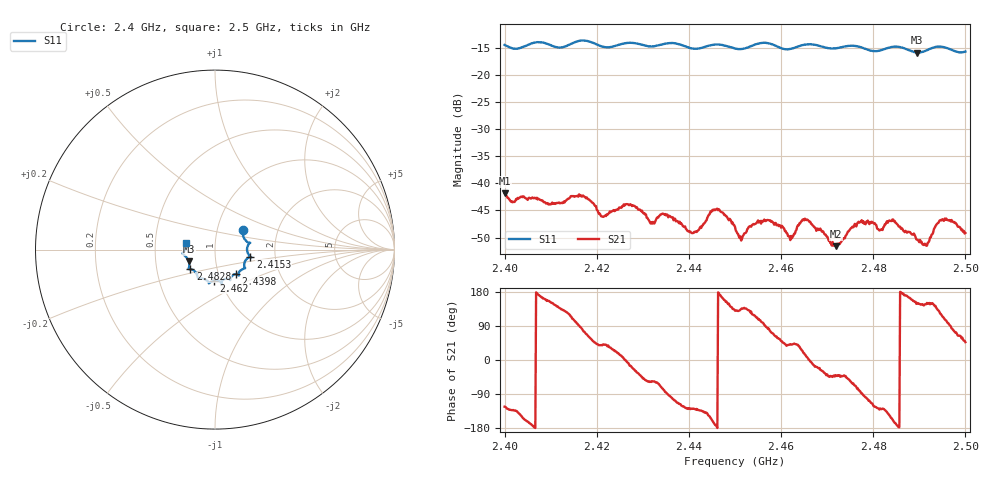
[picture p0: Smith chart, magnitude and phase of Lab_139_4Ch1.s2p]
# Hz S RI R 50
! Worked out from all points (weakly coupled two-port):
!   601 points, 2.4 GHz to 2.5 GHz, reference 50 ohm
!   highest |S21| = -41.85 dB at 2.4 GHz (marker M1); lowest = -51.6 dB at 2.4718 GHz (marker M2)
!   lowest |S11| = -15.9 dB at 2.4895 GHz (marker M3), VSWR 1.38, Z = 37 - j5 ohm
!   |S11| at or under -10 dB: start of sweep to end of sweep
!   S12 and S22 are empty: the file has one direction only
!   S11 on the Smith chart (normalised r, x): 2.4 GHz: 1.33, +0.29; 2.4153 GHz: 1.48, -0.12; 2.4398 GHz: 1.21, -0.34; 2.462 GHz: 0.93, -0.33; 2.4828 GHz: 0.74, -0.17; 2.5 GHz: 0.72, +0.06
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2.4e9  0.1553 0.1069  -0.00441 -0.00677  0 0  0 0
2.415333e9  0.1966 -0.0389  -0.0015 0.00744  0 0  0 0
2.416667e9  0.2025 -0.0429  0.000788 0.00752  0 0  0 0
2.421333e9  0.1725 -0.0566  0.00371 0.00321  0 0  0 0
2.426833e9  0.1683 -0.1027  0.00633 -0.000862  0 0  0 0
2.433333e9  0.1308 -0.1338  0.00227 -0.00426  0 0  0 0
2.439833e9  0.1154 -0.1362  -0.00228 -0.0028  0 0  0 0
2.446e9  0.0847 -0.1704  -0.00578 -0.00052  0 0  0 0
2.45e9  0.0655 -0.1624  -0.00256 0.00303  0 0  0 0
2.451333e9  0.0505 -0.1652  -0.00207 0.00212  0 0  0 0
2.457333e9  0.0393 -0.1914  0.000557 0.00452  0 0  0 0
2.462e9  -0.00499 -0.1729  0.00223 0.00199  0 0  0 0
2.464833e9  -0.0318 -0.1858  0.00439 0.0015  0 0  0 0
2.466667e9  -0.0341 -0.1881  0.00416 -0.000564  0 0  0 0
2.471833e9  -0.068 -0.1618  0.00202 -0.00169  0 0  0 0
2.477e9  -0.0963 -0.1537  0.00071 -0.00428  0 0  0 0
2.482833e9  -0.1367 -0.1091  -0.0031 -0.00305  0 0  0 0
2.483333e9  -0.1404 -0.1089  -0.00361 -0.00268  0 0  0 0
2.4895e9  -0.1461 -0.0659  -0.00263 0.00148  0 0  0 0
2.4915e9  -0.163 -0.039  -0.00224 0.00143  0 0  0 0
2.495333e9  -0.1789 -0.0184  -0.00159 0.00421  0 0  0 0
2.5e9  -0.1592 0.0391  0.00237 0.00256  0 0  0 0
